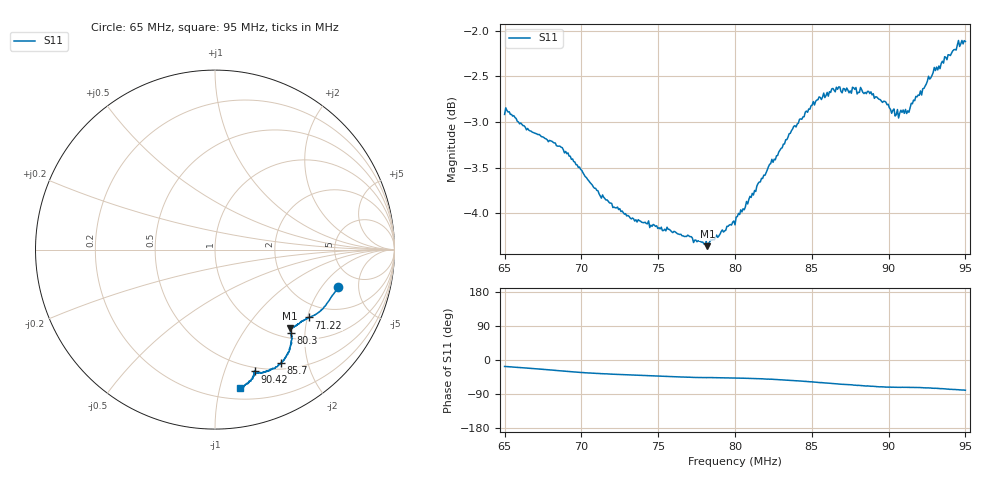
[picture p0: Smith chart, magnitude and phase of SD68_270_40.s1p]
! NanoVNA-App
! Date: 2025-08-09 13:33:13
! Start: 65MHz Stop: 95MHz Points: 401
! S-Parameter data: F S11
# Hz S RI R 50
!  Frequency  S11_Real  S11_Imag
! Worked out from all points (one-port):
!   401 points, 65 MHz to 95 MHz, reference 50 ohm
!   lowest |S11| = -4.4 dB at 78.2 MHz (marker M1), VSWR 4.07, Z = 59.7 - j82.6 ohm
!   |S11| at or under -10 dB: nowhere
!   S11 on the Smith chart (normalised r, x): 65 MHz: 3.40, -2.91; 71.22 MHz: 1.57, -2.04; 80.3 MHz: 1.10, -1.70; 85.7 MHz: 0.58, -1.58; 90.42 MHz: 0.46, -1.27; 95 MHz: 0.29, -1.15
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6.5e7  0.6835 -0.2094
6.5225e7  0.6835 -0.2171
6.875e7  0.6007 -0.3304
6.9875e7  0.5641 -0.3598
7.1225e7  0.5226 -0.3781
7.25e7  0.4978 -0.3939
7.3625e7  0.4767 -0.403
7.625e7  0.4384 -0.4314
7.745e7  0.4231 -0.4397
7.82e7  0.418 -0.438
8e7  0.4191 -0.4597
8.03e7  0.4236 -0.4664
8.12e7  0.4256 -0.4858
8.2325e7  0.4263 -0.5193
8.375e7  0.4087 -0.5706
8.51e7  0.3851 -0.6162
8.57e7  0.3661 -0.6324
8.675e7  0.3328 -0.661
8.75e7  0.3096 -0.6682
8.78e7  0.296 -0.6758
8.885e7  0.2582 -0.6886
8.9375e7  0.2395 -0.6882
9.0425e7  0.2201 -0.6786
9.125e7  0.2225 -0.6828
9.1925e7  0.2201 -0.6987
9.3125e7  0.2005 -0.7318
9.4625e7  0.1506 -0.7641
9.5e7  0.1391 -0.7714
